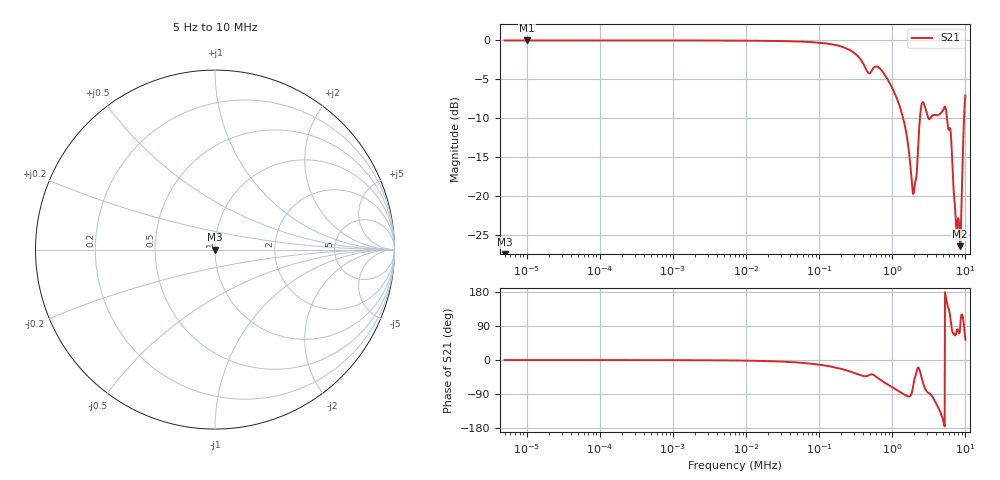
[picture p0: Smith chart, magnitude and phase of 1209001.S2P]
!Agilent Technologies,E5061B,MY49204007,A.02.12
!Date: Fri Sep 12 10:22:02 2025
!Data & Calibration Information:
!Freq	S11:SOLT2(OFF)	S21:SOLT2(OFF)	S12:SOLT2(OFF)	S22:SOLT2(OFF)
# Hz S dB R 50
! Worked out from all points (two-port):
!   1041 points, 5 Hz to 10 MHz, reference 50 ohm
!   highest |S21| = -0.04 dB at 10.12 Hz (marker M1); lowest = -26.4 dB at 8.438 MHz (marker M2)
!   |S21| within 3 dB of the highest: start of sweep to 402.3 kHz
!   lowest |S11| = - dB at 5 Hz (marker M3), VSWR 1.00, Z = 50 + j0 ohm
!   |S11| at or under -10 dB: start of sweep to end of sweep
!   S12 and S22 are empty: the file has one direction only
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5  -200.00 0.0  -0.04 -0.2  -200.00 0.0  -200.00 0.0
10.119  -200.00 0.0  -0.04 -0.2  -200.00 0.0  -200.00 0.0
56.522  -200.00 0.0  -0.04 -0.2  -200.00 0.0  -200.00 0.0
632.897  -200.00 0.0  -0.04 -0.3  -200.00 0.0  -200.00 0.0
7154.49  -200.00 0.0  -0.06 -1.2  -200.00 0.0  -200.00 0.0
80111.67  -200.00 0.0  -0.25 -9.9  -200.00 0.0  -200.00 0.0
223572.5  -200.00 0.0  -0.96 -25.9  -200.00 0.0  -200.00 0.0
437105.7  -200.00 0.0  -3.71 -42.9  -200.00 0.0  -200.00 0.0
593376.2  -200.00 0.0  -3.36 -43.2  -200.00 0.0  -200.00 0.0
893075.1  -200.00 0.0  -5.25 -66.2  -200.00 0.0  -200.00 0.0
1386445  -200.00 0.0  -9.76 -88.8  -200.00 0.0  -200.00 0.0
1958592  -200.00 0.0  -19.66 -60.5  -200.00 0.0  -200.00 0.0
2240026  -200.00 0.0  -14.40 -20.1  -200.00 0.0  -200.00 0.0
2568268  -200.00 0.0  -8.01 -52.7  -200.00 0.0  -200.00 0.0
4062365  -200.00 0.0  -9.61 -117.8  -200.00 0.0  -200.00 0.0
5200581  -200.00 0.0  -8.50 -175.5  -200.00 0.0  -200.00 0.0
6035018  -200.00 0.0  -11.37 128.8  -200.00 0.0  -200.00 0.0
7255215  -200.00 0.0  -21.82 64.5  -200.00 0.0  -200.00 0.0
7957789  -200.00 0.0  -22.81 78.6  -200.00 0.0  -200.00 0.0
8438310  -200.00 0.0  -26.39 81.2  -200.00 0.0  -200.00 0.0
9159090  -200.00 0.0  -15.72 115.9  -200.00 0.0  -200.00 0.0
1e7  -200.00 0.0  -7.06 53.5  -200.00 0.0  -200.00 0.0
